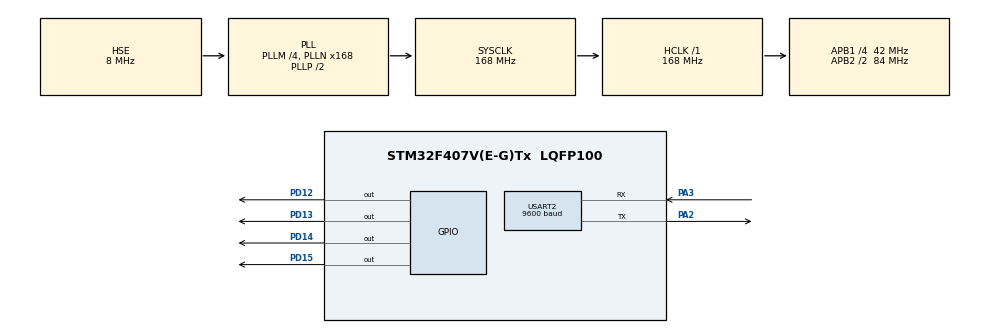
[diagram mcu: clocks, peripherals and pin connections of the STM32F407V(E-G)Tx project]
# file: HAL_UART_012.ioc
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Dma.Request0=USART2_RX
Dma.USART2_RX.0.Direction=DMA_PERIPH_TO_MEMORY
Dma.USART2_RX.0.FIFOMode=DMA_FIFOMODE_DISABLE
Dma.USART2_RX.0.Instance=DMA1_Stream5
Dma.USART2_RX.0.MemDataAlignment=DMA_MDATAALIGN_BYTE
Dma.USART2_RX.0.MemInc=DMA_MINC_ENABLE
Dma.USART2_RX.0.Mode=DMA_CIRCULAR
Dma.USART2_RX.0.PeriphDataAlignment=DMA_PDATAALIGN_BYTE
Dma.USART2_RX.0.PeriphInc=DMA_PINC_DISABLE
Dma.USART2_RX.0.Priority=DMA_PRIORITY_LOW
Mcu.Family=STM32F4
Mcu.Name=STM32F407V(E-G)Tx
Mcu.Package=LQFP100
NVIC.DMA1_Stream5_IRQn=true\:0\:0\:false\:false\:true\:false\:true\:true
NVIC.PriorityGroup=NVIC_PRIORITYGROUP_4
PA13.Mode=Serial_Wire
PA13.Signal=SYS_JTMS-SWDIO
PA14.Mode=Serial_Wire
PA14.Signal=SYS_JTCK-SWCLK
PA2.Mode=Asynchronous
PA2.Signal=USART2_TX
PA3.Mode=Asynchronous
PA3.Signal=USART2_RX
PD12.Signal=GPIO_Output
PD13.Signal=GPIO_Output
PD14.Signal=GPIO_Output
PD15.Signal=GPIO_Output
PH0-OSC_IN.Mode=HSE-External-Oscillator
PH0-OSC_IN.Signal=RCC_OSC_IN
PH1-OSC_OUT.Mode=HSE-External-Oscillator
PH1-OSC_OUT.Signal=RCC_OSC_OUT
ProjectManager.HeapSize=0x200
ProjectManager.StackSize=0x400
ProjectManager.TargetToolchain=STM32CubeIDE
RCC.48MHZClocksFreq_Value=84000000
RCC.AHBFreq_Value=168000000
RCC.APB1CLKDivider=RCC_HCLK_DIV4
RCC.APB1Freq_Value=42000000
RCC.APB1TimFreq_Value=84000000
RCC.APB2CLKDivider=RCC_HCLK_DIV2
RCC.APB2Freq_Value=84000000
RCC.APB2TimFreq_Value=168000000
RCC.CortexFreq_Value=168000000
RCC.HCLKFreq_Value=168000000
RCC.HSE_VALUE=8000000
RCC.HSI_VALUE=16000000
RCC.LSE_VALUE=32768
RCC.PLLM=4
RCC.PLLN=168
RCC.PLLSourceVirtual=RCC_PLLSOURCE_HSE
RCC.SYSCLKFreq_VALUE=168000000
RCC.SYSCLKSource=RCC_SYSCLKSOURCE_PLLCLK
RCC.VCOOutputFreq_Value=336000000
USART2.BaudRate=9600
USART2.VirtualMode=VM_ASYNC
board=custom

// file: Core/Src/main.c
/* USER CODE BEGIN Header */
/**
  ******************************************************************************
  * @file           : main.c
  * @brief          : Main program body
  ******************************************************************************
  * @attention
  *
  * Copyright (c) 2024 STMicroelectronics.
  * All rights reserved.
  *
  * This software is licensed under terms that can be found in the LICENSE file
  * in the root directory of this software component.
  * If no LICENSE file comes with this software, it is provided AS-IS.
  *
  ******************************************************************************
  */
/* USER CODE END Header */
#include "main.h"

/* USER CODE BEGIN Includes */

#include "string.h"
#include "stdio.h"

char RxData[50],TxData[50];

/* USER CODE END Includes */

UART_HandleTypeDef huart2;
DMA_HandleTypeDef hdma_usart2_rx;

void SystemClock_Config(void);
static void MX_GPIO_Init(void);
static void MX_DMA_Init(void);
static void MX_USART2_UART_Init(void);

/* USER CODE BEGIN 0 */

void HAL_UART_RxCpltCallback(UART_HandleTypeDef *huart)
{
	if(RxData[0] == 'o' && RxData[1] == '1')
	{
		HAL_GPIO_WritePin(GPIOD,GPIO_PIN_12,1);
		sprintf(TxData,"\n\rLed is on.\n\r");
		HAL_UART_Transmit(&huart2, (uint8_t*)&TxData,sizeof(TxData),100);
	}
	if(RxData[0] == 'c' && RxData[1] == '1')
	{
		HAL_GPIO_WritePin(GPIOD,GPIO_PIN_12,0);
		sprintf(TxData,"\n\rLed is off.\n\r");
		HAL_UART_Transmit(&huart2, (uint8_t*)&TxData,sizeof(TxData),100);
	}

	HAL_UART_Receive_DMA(&huart2, (uint8_t*)&RxData,2);
}

/* USER CODE END 0 */

int main(void)
{

  /* MCU Configuration--------------------------------------------------------*/

  /* Reset of all peripherals, Initializes the Flash interface and the Systick. */
  HAL_Init();

  /* Configure the system clock */
  SystemClock_Config();

  /* Initialize all configured peripherals */
  MX_GPIO_Init();
  MX_DMA_Init();
  MX_USART2_UART_Init();
  /* USER CODE BEGIN 2 */

  HAL_UART_Receive_DMA(&huart2, (uint8_t*)&RxData,2);

  /* USER CODE END 2 */

  /* Infinite loop */
  while (1)
  {

    /* USER CODE BEGIN 3 */
	  if(HAL_GPIO_ReadPin(GPIOD, GPIO_PIN_12) == 1)
	  {
		  HAL_GPIO_WritePin(GPIOD, GPIO_PIN_15, 1);
	  }
	  else
	  {
		  HAL_GPIO_WritePin(GPIOD,GPIO_PIN_15,0);
	  }
  }
  /* USER CODE END 3 */
}

void SystemClock_Config(void)
{
  RCC_OscInitTypeDef RCC_OscInitStruct = {0};
  RCC_ClkInitTypeDef RCC_ClkInitStruct = {0};

  /** Configure the main internal regulator output voltage
  */
  __HAL_RCC_PWR_CLK_ENABLE();
  __HAL_PWR_VOLTAGESCALING_CONFIG(PWR_REGULATOR_VOLTAGE_SCALE1);

  /** Initializes the RCC Oscillators according to the specified parameters
  * in the RCC_OscInitTypeDef structure.
  */
  RCC_OscInitStruct.OscillatorType = RCC_OSCILLATORTYPE_HSE;
  RCC_OscInitStruct.HSEState = RCC_HSE_ON;
  RCC_OscInitStruct.PLL.PLLState = RCC_PLL_ON;
  RCC_OscInitStruct.PLL.PLLSource = RCC_PLLSOURCE_HSE;
  RCC_OscInitStruct.PLL.PLLM = 4;
  RCC_OscInitStruct.PLL.PLLN = 168;
  RCC_OscInitStruct.PLL.PLLP = RCC_PLLP_DIV2;
  RCC_OscInitStruct.PLL.PLLQ = 4;
  if (HAL_RCC_OscConfig(&RCC_OscInitStruct) != HAL_OK)
  {
    Error_Handler();
  }

  /** Initializes the CPU, AHB and APB buses clocks
  */
  RCC_ClkInitStruct.ClockType = RCC_CLOCKTYPE_HCLK|RCC_CLOCKTYPE_SYSCLK
                              |RCC_CLOCKTYPE_PCLK1|RCC_CLOCKTYPE_PCLK2;
  RCC_ClkInitStruct.SYSCLKSource = RCC_SYSCLKSOURCE_PLLCLK;
  RCC_ClkInitStruct.AHBCLKDivider = RCC_SYSCLK_DIV1;
  RCC_ClkInitStruct.APB1CLKDivider = RCC_HCLK_DIV4;
  RCC_ClkInitStruct.APB2CLKDivider = RCC_HCLK_DIV2;

  if (HAL_RCC_ClockConfig(&RCC_ClkInitStruct, FLASH_LATENCY_5) != HAL_OK)
  {
    Error_Handler();
  }
}

static void MX_USART2_UART_Init(void)
{

  huart2.Instance = USART2;
  huart2.Init.BaudRate = 9600;
  huart2.Init.WordLength = UART_WORDLENGTH_8B;
  huart2.Init.StopBits = UART_STOPBITS_1;
  huart2.Init.Parity = UART_PARITY_NONE;
  huart2.Init.Mode = UART_MODE_TX_RX;
  huart2.Init.HwFlowCtl = UART_HWCONTROL_NONE;
  huart2.Init.OverSampling = UART_OVERSAMPLING_16;
  if (HAL_UART_Init(&huart2) != HAL_OK)
  {
    Error_Handler();
  }

}

static void MX_DMA_Init(void)
{

  /* DMA controller clock enable */
  __HAL_RCC_DMA1_CLK_ENABLE();

  /* DMA interrupt init */
  /* DMA1_Stream5_IRQn interrupt configuration */
  HAL_NVIC_SetPriority(DMA1_Stream5_IRQn, 0, 0);
  HAL_NVIC_EnableIRQ(DMA1_Stream5_IRQn);

}

static void MX_GPIO_Init(void)
{
  GPIO_InitTypeDef GPIO_InitStruct = {0};

  /* GPIO Ports Clock Enable */
  __HAL_RCC_GPIOH_CLK_ENABLE();
  __HAL_RCC_GPIOA_CLK_ENABLE();
  __HAL_RCC_GPIOD_CLK_ENABLE();

  /*Configure GPIO pin Output Level */
  HAL_GPIO_WritePin(GPIOD, GPIO_PIN_12|GPIO_PIN_13|GPIO_PIN_14|GPIO_PIN_15, GPIO_PIN_RESET);

  /*Configure GPIO pins : PD12 PD13 PD14 PD15 */
  GPIO_InitStruct.Pin = GPIO_PIN_12|GPIO_PIN_13|GPIO_PIN_14|GPIO_PIN_15;
  GPIO_InitStruct.Mode = GPIO_MODE_OUTPUT_PP;
  GPIO_InitStruct.Pull = GPIO_NOPULL;
  GPIO_InitStruct.Speed = GPIO_SPEED_FREQ_LOW;
  HAL_GPIO_Init(GPIOD, &GPIO_InitStruct);

}

void Error_Handler(void)
{
  __disable_irq();
  while (1)
  {
  }
}
